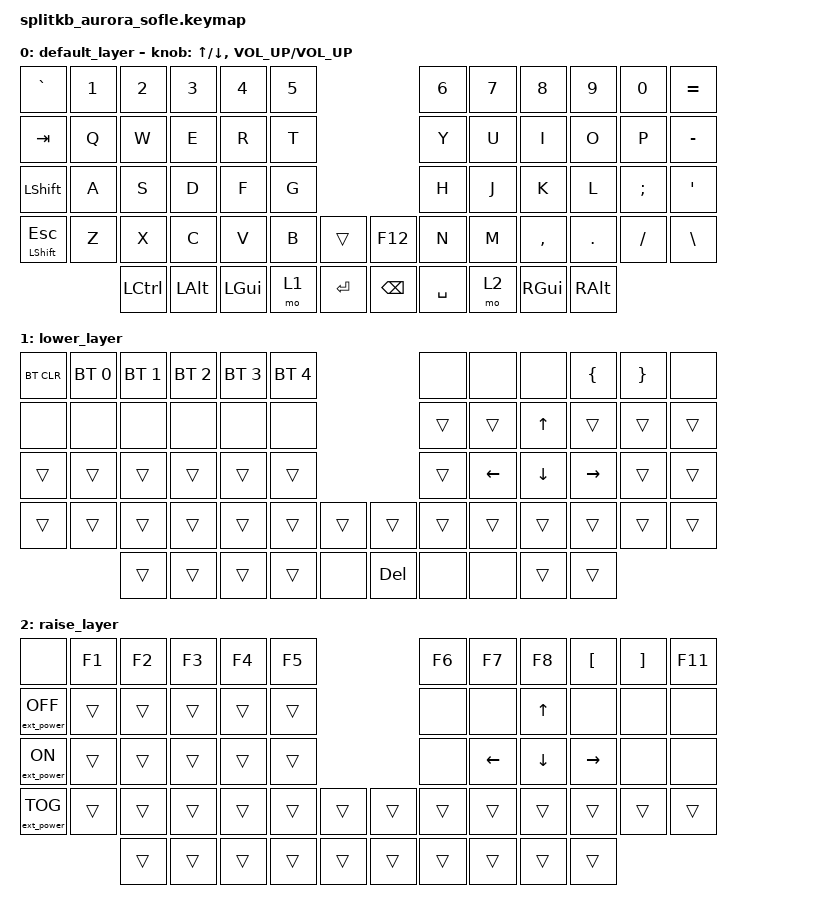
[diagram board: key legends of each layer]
/*
 * Copyright (c) 2023 The ZMK Contributors
 *
 * SPDX-License-Identifier: MIT
 */

#include <behaviors.dtsi>
#include <dt-bindings/zmk/bt.h>
#include <dt-bindings/zmk/ext_power.h>
#include <dt-bindings/zmk/keys.h>

/* Uncomment this block if using RGB
&led_strip {
    // chain-length = <6>;
    chain-length = <35>; // Uncomment if using both per-key and underglow LEDs
    // chain-length = <29>; // Uncomment if using only per-key LEDs.
};
*/

/ {
    combos {
        compatible = "zmk,combos";
    };

    behaviors {
        esc_hold_shift: esc_hold_shift {
            compatible = "zmk,behavior-hold-tap";
            label = "ESC_HOLD_SHIFT";
            bindings = <&kp>, <&kp>;

            #binding-cells = <2>;
            tapping-term-ms = <650>;
            flavor = "balanced";
            hold-trigger-key-positions = <36>;
        };
    };

    keymap {
        compatible = "zmk,keymap";

        default_layer {
            // ------------------------------------------------------------------------------------------------------------
            // |  ESC  |  1  |  2  |  3   |  4   |  5   |                   |  6   |  7    |  8    |  9   |   0   |   `   |
            // |  TAB  |  Q  |  W  |  E   |  R   |  T   |                   |  Y   |  U    |  I    |  O   |   P   |   -   |
            // |  CTRL |  A  |  S  |  D   |  F   |  G   |                   |  H   |  J    |  K    |  L   |   ;   |   '   |
            // | SHIFT |  Z  |  X  |  C   |  V   |  B   |   "["  |  |  "]"  |  N   |  M    |  ,    |  .   |   /   | SHIFT |
            //               |CTRL | ALT  | GUI  | LOWER|  SPACE |  | ENTER | RAISE| BSPC  | GUI   | RALT |

            bindings = <
&kp GRAVE                          &kp N1  &kp N2     &kp N3    &kp N4    &kp N5                            &kp N6     &kp N7  &kp N8     &kp N9    &kp N0    &kp EQUAL
&kp TAB                            &kp Q   &kp W      &kp E     &kp R     &kp T                             &kp Y      &kp U   &kp I      &kp O     &kp P     &kp MINUS
&kp LEFT_SHIFT                     &kp A   &kp S      &kp D     &kp F     &kp G                             &kp H      &kp J   &kp K      &kp L     &kp SEMI  &kp SQT
&esc_hold_shift LEFT_SHIFT ESCAPE  &kp Z   &kp X      &kp C     &kp V     &kp B   &trans     &kp F12        &kp N      &kp M   &kp COMMA  &kp DOT   &kp FSLH  &kp BACKSLASH
                                           &kp LCTRL  &kp LALT  &kp LGUI  &mo 1   &kp ENTER  &kp BACKSPACE  &kp SPACE  &mo 2   &kp RGUI   &kp RALT
            >;

            sensor-bindings =
                <&inc_dec_kp UP_ARROW DOWN>,
                <&inc_dec_kp C_VOL_UP C_VOL_UP>;
        };

        lower_layer {
            // ------------------------------------------------------------------------------------------------------------
            // | BTCLR | BT1 | BT2 |  BT3 |  BT4 |  BT5 |                   |      |       |       |      |       |       |
            // |  F1   |  F2 |  F3 |  F4  |  F5  |  F6  |                   |  F7  |  F8   |  F9   |  F10 |  F11  |  F12  |
            // |   `   |  !  |  @  |  #   |  $   |  %   |                   |  ^   |  &    |  *    |  (   |   )   |   ~   |
            // |       |     |     |      |      |      |        |  |       |      |  _    |  +    |  {   |   }   |  "|"  |
            //               |     |      |      |      |        |  |       |      |       |       |      |

            bindings = <
&bt BT_CLR  &bt BT_SEL 0  &bt BT_SEL 1  &bt BT_SEL 2  &bt BT_SEL 3  &bt BT_SEL 4                      &none   &none           &none         &kp LEFT_BRACE  &kp RIGHT_BRACE  &none
&none       &none         &none         &none         &none         &none                             &trans  &trans          &kp UP_ARROW  &trans          &trans           &trans
&trans      &trans        &trans        &trans        &trans        &trans                            &trans  &kp LEFT_ARROW  &kp DOWN      &kp RIGHT       &trans           &trans
&trans      &trans        &trans        &trans        &trans        &trans        &trans  &trans      &trans  &trans          &trans        &trans          &trans           &trans
                          &trans        &trans        &trans        &trans        &none   &kp DELETE  &none   &none           &trans        &trans
            >;
        };

        raise_layer {
            // ------------------------------------------------------------------------------------------------------------
            // |       |     |     |      |      |      |                   |      |       |       |      |       |       |
            // |   `   |  1  |  2  |  3   |  4   |  5   |                   |  6   |   7   |   8   |  9   |   0   |       |
            // |   F1  |  F2 |  F3 |  F4  |  F5  |  F6  |                   |      |   <-  |   v   |  ^   |  ->   |       |
            // |   F7  |  F8 |  F9 |  F10 |  F11 |  F12 |        |  |       |  +   |   -   |   =   |  [   |   ]   |   \   |
            //               |     |      |      |      |        |  |       |      |       |       |      |

            bindings = <
&none              &kp F1  &kp F2  &kp F3  &kp F4  &kp F5                  &kp F6  &kp F7    &kp F8        &kp LEFT_BRACKET  &kp RIGHT_BRACKET  &kp F11
&ext_power EP_OFF  &trans  &trans  &trans  &trans  &trans                  &none   &none     &kp UP_ARROW  &none             &none              &none
&ext_power EP_ON   &trans  &trans  &trans  &trans  &trans                  &none   &kp LEFT  &kp DOWN      &kp RIGHT         &none              &none
&ext_power EP_TOG  &trans  &trans  &trans  &trans  &trans  &trans  &trans  &trans  &trans    &trans        &trans            &trans             &trans
                           &trans  &trans  &trans  &trans  &trans  &trans  &trans  &trans    &trans        &trans
            >;
        };
    };
};
